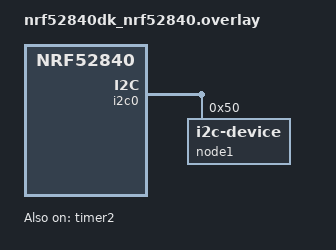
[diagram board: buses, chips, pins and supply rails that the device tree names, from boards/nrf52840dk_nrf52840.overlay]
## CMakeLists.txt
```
#
# Copyright (c) 2021 Nordic Semiconductor ASA
#
# SPDX-License-Identifier: LicenseRef-Nordic-5-Clause
#

cmake_minimum_required(VERSION 3.20.0)

find_package(Zephyr REQUIRED HINTS $ENV{ZEPHYR_BASE})

project(Nordic)

# NORDIC SDK APP START
target_sources(app PRIVATE
  src/main.c
)

target_include_directories(app PRIVATE include)
# NORDIC SDK APP END
```

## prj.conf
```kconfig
#
# Copyright (c) 2021 Nordic Semiconductor ASA
#
# SPDX-License-Identifier: LicenseRef-Nordic-5-Clause
#

# Enable the I2C driver
CONFIG_I2C=y
# Enable floating point format specifiers
CONFIG_CBPRINTF_FP_SUPPORT=y


#CONFIG_ZIGBEE_CHANNEL=11
CONFIG_ZIGBEE_CHANNEL_SELECTION_MODE_MULTI=y
CONFIG_NCS_SAMPLES_DEFAULTS=y

CONFIG_UART_INTERRUPT_DRIVEN=y
CONFIG_SERIAL=y
CONFIG_GPIO=y

# Make sure printk is not printing to the UART console
CONFIG_CONSOLE=y
CONFIG_UART_CONSOLE=y

CONFIG_HEAP_MEM_POOL_SIZE=2048
CONFIG_MAIN_THREAD_PRIORITY=7

CONFIG_ZIGBEE=y
CONFIG_ZIGBEE_APP_UTILS=y
CONFIG_ZIGBEE_ROLE_END_DEVICE=y

# Enable DK LED and Buttons library
CONFIG_DK_LIBRARY=y

# This example requires more workqueue stack
CONFIG_SYSTEM_WORKQUEUE_STACK_SIZE=2048

# Enable nRF ECB driver
CONFIG_CRYPTO=y
CONFIG_CRYPTO_NRF_ECB=y
CONFIG_CRYPTO_INIT_PRIORITY=80

# Networking
CONFIG_NET_IPV6=n
CONFIG_NET_IP_ADDR_CHECK=n
CONFIG_NET_UDP=n
```

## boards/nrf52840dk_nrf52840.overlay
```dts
/*
 * Copyright (c) 2023 Nordic Semiconductor ASA
 *
 * SPDX-License-Identifier: LicenseRef-Nordic-5-Clause
 */

&i2c0 {
    
    node1: node1@50{
        compatible = "i2c-device";
        status = "okay";
        reg = < 0x50 >;
    };
};


/ {
	chosen {
		ncs,zigbee-timer = &timer2;
	};
};

&timer2 {
	status = "okay";
};
```

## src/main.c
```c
/*
 * Copyright (c) 2021 Nordic Semiconductor ASA
 *
 * SPDX-License-Identifier: LicenseRef-Nordic-5-Clause
 */

/** @file
 *
 * @brief Zigbee application template.
 */

#include <zephyr/kernel.h>
#include <zephyr/device.h>
#include <zephyr/devicetree.h>
#include <dk_buttons_and_leds.h>
#include <zephyr/logging/log.h>
#include <zephyr/sys/printk.h>

#include <zephyr/drivers/i2c.h>
#include "nodes/nodes.h"

#include "garden_zb_attrs.h"
#include "garden_zb_endpoint_defs.h"
#include "garden_zb_soil_moisture_defs.h"
#include "garden_zb_analog_output_defs.h"

#include <addons/zcl/zb_zcl_temp_measurement_addons.h>

#include <zboss_api.h>
#include <zboss_api_addons.h>

#include <zigbee/zigbee_error_handler.h>
#include <zigbee/zigbee_app_utils.h>

#include <zb_nrf_platform.h>
#include <zb_nrf_platform.h>

#include <zcl/zb_zcl_power_config.h>

#include <ram_pwrdn.h>


#define I2C_NODE_1 DT_NODELABEL(node1)

static const struct i2c_dt_spec dev_i2c = I2C_DT_SPEC_GET(I2C_NODE_1);

/* Device endpoint, used to receive ZCL commands. */
#define APP_TEMPLATE_ENDPOINT               11

/* Air quality check period */
#define READ_DATA_PERIOD_MSEC (1000 * 30)
#define READ_DATA_START_PERIOD_MSEC (1000 * 5)

/* Version of the application software (1 byte). */
#define TEMPLATE_INIT_BASIC_APP_VERSION     01

/* Version of the implementation of the Zigbee stack (1 byte). */
#define TEMPLATE_INIT_BASIC_STACK_VERSION   10

/* Version of the hardware of the device (1 byte). */
#define TEMPLATE_INIT_BASIC_HW_VERSION      11

/* Manufacturer name (32 bytes). */
#define TEMPLATE_INIT_BASIC_MANUF_NAME      "Nordic"

/* Model number assigned by manufacturer (32-bytes long string). */
#define TEMPLATE_INIT_BASIC_MODEL_ID        "Garden_v0.2b"

/* First 8 bytes specify the date of manufacturer of the device
 * in ISO 8601 format (YYYYMMDD). The rest (8 bytes) are manufacturer specific.
 */
#define TEMPLATE_INIT_BASIC_DATE_CODE       "20200329"

/* Type of power sources available for the device.
 * For possible values see section 3.2.2.2.8 of ZCL specification.
 */
#define TEMPLATE_INIT_BASIC_POWER_SOURCE    ZB_ZCL_BASIC_POWER_SOURCE_DC_SOURCE



/* LED indicating that device successfully joined Zigbee network. */
#define ZIGBEE_NETWORK_STATE_LED            DK_LED3

/* LED used for device identification. */
#define IDENTIFY_LED                        DK_LED4

/* Button used to enter the Identify mode. */
#define IDENTIFY_MODE_BUTTON                DK_BTN4_MSK

/* Button to start Factory Reset */
#define FACTORY_RESET_BUTTON                IDENTIFY_MODE_BUTTON

LOG_MODULE_REGISTER(app, LOG_LEVEL_INF);

/* Main application customizable context.
 * Stores all settings and static values.
 */
/*
struct zb_device_ctx {
	zb_zcl_basic_attrs_t basic_attr;
	zb_zcl_identify_attrs_t identify_attr;
};
//*/

/* Zigbee device application context storage. */
static struct zb_device_ctx dev_ctx;

ZB_ZCL_DECLARE_IDENTIFY_ATTRIB_LIST(
	identify_attr_list,
	&dev_ctx.identify_attr.identify_time);

ZB_ZCL_DECLARE_BASIC_ATTRIB_LIST_EXT(
	basic_attr_list,
	&dev_ctx.basic_attr.zcl_version,
	&dev_ctx.basic_attr.app_version,
	&dev_ctx.basic_attr.stack_version,
	&dev_ctx.basic_attr.hw_version,
	dev_ctx.basic_attr.mf_name,
	dev_ctx.basic_attr.model_id,
	dev_ctx.basic_attr.date_code,
	&dev_ctx.basic_attr.power_source,
	dev_ctx.basic_attr.location_id,
	&dev_ctx.basic_attr.ph_env,
	dev_ctx.basic_attr.sw_ver);


//*
GARDEN_ZB_ZCL_DECLARE_SOIL_MOISTURE_ATTRIB_LIST(
    soil_moisture_attr_list,
    &dev_ctx.soil_moisture_attrs.percentage1,
	&dev_ctx.soil_moisture_attrs.percentage2);
//*/

//*
ZB_ZCL_DECLARE_ON_OFF_ATTRIB_LIST(
	on_off_attr_list,
	&dev_ctx.on_off_attr.on_off);
//*/

GARDEN_ZB_ZCL_DECLARE_ANALOG_OUTPUT_ATTRIB_LIST(
	analog_output_attr_list,
	&dev_ctx.analog_output_attr.value);


GARDEN_ZB_DECLARE_CLUSTER_LIST(
    app_template_clusters,
    basic_attr_list,
    identify_attr_list,
    on_off_attr_list,
	analog_output_attr_list,
    soil_moisture_attr_list);

GARDEN_ZB_DECLARE_ENDPOINT(
    app_template_ep,
    GARDEN_ZIGBEE_ENDPOINT_1,
    app_template_clusters);

ZBOSS_DECLARE_DEVICE_CTX_1_EP(
	app_template_ctx,
	app_template_ep);



/**
 * @brief Function for initializing all clusters attributes. 
 */
static void app_clusters_attr_init(void)
{
	dev_ctx.basic_attr.zcl_version = ZB_ZCL_VERSION;
	dev_ctx.basic_attr.power_source = ZB_ZCL_BASIC_POWER_SOURCE_BATTERY;
	ZB_ZCL_SET_STRING_VAL(
		dev_ctx.basic_attr.mf_name,
		GARDEN_BASIC_MANUF_NAME,
		ZB_ZCL_STRING_CONST_SIZE(GARDEN_BASIC_MANUF_NAME));

	ZB_ZCL_SET_STRING_VAL(
		dev_ctx.basic_attr.model_id,
		TEMPLATE_INIT_BASIC_MODEL_ID,
		ZB_ZCL_STRING_CONST_SIZE(TEMPLATE_INIT_BASIC_MODEL_ID));

	ZB_ZCL_SET_STRING_VAL(
		dev_ctx.basic_attr.date_code,
		TEMPLATE_INIT_BASIC_DATE_CODE,
		ZB_ZCL_STRING_CONST_SIZE(TEMPLATE_INIT_BASIC_DATE_CODE));

	dev_ctx.basic_attr.hw_version = TEMPLATE_INIT_BASIC_HW_VERSION;

	//dev_ctx->batt_attrs.quantity = 1;
	//dev_ctx->batt_attrs.size = ZB_ZCL_POWER_CONFIG_BATTERY_SIZE_OTHER;

	dev_ctx.identify_attr.identify_time =
		ZB_ZCL_IDENTIFY_IDENTIFY_TIME_DEFAULT_VALUE;
}

/**
 * @brief Function to toggle the identify LED
 *
 * @param  bufid  Unused parameter, required by ZBOSS scheduler API.
 */
static void toggle_identify_led(zb_bufid_t bufid)
{
	static int blink_status;

	dk_set_led(IDENTIFY_LED, (++blink_status) % 2);
	ZB_SCHEDULE_APP_ALARM(toggle_identify_led, bufid, ZB_MILLISECONDS_TO_BEACON_INTERVAL(100));
}

/**
 * @brief Function to handle identify notification events on the first endpoint.
 *
 * @param  bufid  Unused parameter, required by ZBOSS scheduler API.
 */
static void identify_cb(zb_bufid_t bufid)
{
	zb_ret_t zb_err_code;

	if (bufid) {
		/* Schedule a self-scheduling function that will toggle the LED */
		ZB_SCHEDULE_APP_CALLBACK(toggle_identify_led, bufid);
	} else {
		/* Cancel the toggling function alarm and turn off LED */
		zb_err_code = ZB_SCHEDULE_APP_ALARM_CANCEL(toggle_identify_led, ZB_ALARM_ANY_PARAM);
		ZVUNUSED(zb_err_code);

		dk_set_led(IDENTIFY_LED, 0);
	}
}

/**
 * @brief Starts identifying the device.
 *
 * @param  bufid  Unused parameter, required by ZBOSS scheduler API.
 */
static void start_identifying(zb_bufid_t bufid)
{
	ZVUNUSED(bufid);

	if (ZB_JOINED()) {
		/* Check if endpoint is in identifying mode,
		 * if not put desired endpoint in identifying mode.
		 */
		if (dev_ctx.identify_attr.identify_time ==
		ZB_ZCL_IDENTIFY_IDENTIFY_TIME_DEFAULT_VALUE) {

			zb_ret_t zb_err_code = zb_bdb_finding_binding_target(
				APP_TEMPLATE_ENDPOINT);

			if (zb_err_code == RET_OK) {
				LOG_INF("Enter identify mode");
			} else if (zb_err_code == RET_INVALID_STATE) {
				LOG_WRN("RET_INVALID_STATE - Cannot enter identify mode");
			} else {
				ZB_ERROR_CHECK(zb_err_code);
			}
		} else {
			LOG_INF("Cancel identify mode");
			zb_bdb_finding_binding_target_cancel();
		}
	} else {
		LOG_WRN("Device not in a network - cannot enter identify mode");
	}
}

/**
 * @brief Callback for button events.
 *
 * @param[in]   button_state  Bitmask containing buttons state.
 * @param[in]   has_changed   Bitmask containing buttons
 *                            that have changed their state.
 */
static void button_changed(uint32_t button_state, uint32_t has_changed)
{
	if (IDENTIFY_MODE_BUTTON & has_changed) {
		if (IDENTIFY_MODE_BUTTON & button_state) {
			/* Button changed its state to pressed */
		} else {
			/* Button changed its state to released */
			if (was_factory_reset_done()) {
				/* The long press was for Factory Reset */
				LOG_DBG("After Factory Reset - ignore button release");
			} else   {
				/* Button released before Factory Reset */

				/* Start identification mode */
				ZB_SCHEDULE_APP_CALLBACK(start_identifying, 0);
			}
		}
	}

	check_factory_reset_button(button_state, has_changed);
}

/**
 * @brief Function for initializing LEDs and Buttons. 
 */
static void configure_gpio(void)
{
	int err;

	err = dk_buttons_init(button_changed);
	if (err) {
		LOG_ERR("Cannot init buttons (err: %d)", err);
	}

	err = dk_leds_init();
	if (err) {
		LOG_ERR("Cannot init LEDs (err: %d)", err);
	}

	if (!device_is_ready(dev_i2c.bus)) {
		LOG_ERR("I2C bus %s is not ready!\n\r",dev_i2c.bus->name);
	}
}


void readData() {

	int ret;
	int err = 0;

	uint8_t data_reading[3]= {0};
	uint8_t sensor_regs[3] = {HUMIDITY1_REG, HUMIDITY2_REG, WATERLEVEL_REG};
	ret = i2c_write_read_dt(&dev_i2c,&sensor_regs[0],1,&data_reading[0],1);
	if(ret != 0){
		printk("Failed to write/read I2C device address %x at Reg. %x \r\n", dev_i2c.addr,sensor_regs[0]);
	}
	ret = i2c_write_read_dt(&dev_i2c,&sensor_regs[1],1,&data_reading[1],1);
	if(ret != 0){
		printk("Failed to write/read I2C device address %x at Reg. %x \r\n", dev_i2c.addr,sensor_regs[1]);
	}
	ret = i2c_write_read_dt(&dev_i2c,&sensor_regs[2],1,&data_reading[2],1);
	if(ret != 0){
		printk("Failed to write/read I2C device address %x at Reg. %x \r\n", dev_i2c.addr,sensor_regs[2]);
	}

	printk("HUM1 = %x, HUM2 = %x, WATER = %x \r\n", data_reading[0], data_reading[1], data_reading[2]);

	zb_zcl_status_t statusHum1 = zb_zcl_set_attr_val(
			GARDEN_ZIGBEE_ENDPOINT_1, GARDEN_ZB_ZCL_ATTR_SOIL_MOISTURE_CLUSTER_ID,
			ZB_ZCL_CLUSTER_SERVER_ROLE, GARDEN_ZB_ZCL_ATTR_SOIL_MOISTURE_VALUE_1_ID,
			(zb_uint8_t *)&data_reading[0], ZB_FALSE);
		if (statusHum1) {
			LOG_ERR("Failed to set ZCL attribute: %d", statusHum1);
			err = statusHum1;
		}

	zb_zcl_status_t statusHum2 = zb_zcl_set_attr_val(
			GARDEN_ZIGBEE_ENDPOINT_1, GARDEN_ZB_ZCL_ATTR_SOIL_MOISTURE_CLUSTER_ID,
			ZB_ZCL_CLUSTER_SERVER_ROLE, GARDEN_ZB_ZCL_ATTR_SOIL_MOISTURE_VALUE_2_ID,
			(zb_uint8_t *)&data_reading[1], ZB_FALSE);
		if (statusHum2) {
			LOG_ERR("Failed to set ZCL attribute: %d", statusHum2);
			err = statusHum2;
		}

	zb_zcl_status_t statusWater = zb_zcl_set_attr_val(
			GARDEN_ZIGBEE_ENDPOINT_1, GARDEN_ZB_ZCL_ATTR_ANALOG_OUTPUT_CLUSTER_ID,
			ZB_ZCL_CLUSTER_SERVER_ROLE, GARDEN_ZB_ZCL_ATTR_ANALOG_OUTPUT_VALUE_ID,
			(zb_uint8_t *)&data_reading[2], ZB_FALSE);
		if (statusWater) {
			LOG_ERR("Failed to set ZCL attribute: %d", statusWater);
			err = statusWater;
		}

	zb_ret_t zb_err = ZB_SCHEDULE_APP_ALARM(
		readData, 0,
		ZB_MILLISECONDS_TO_BEACON_INTERVAL(READ_DATA_PERIOD_MSEC));
	if (zb_err) {
		LOG_ERR("Failed to schedule app alarm: %d", zb_err);
	}
}


/**
 * @brief Function for turning ON/OFF the water valve.
 *
 * @param[in]   on   Boolean light bulb state.
 */
static void on_off_set_value(zb_bool_t on)
{
	LOG_INF("Set ON/OFF value: %i", on);

	ZB_ZCL_SET_ATTRIBUTE(
		GARDEN_ZIGBEE_ENDPOINT_1,
		ZB_ZCL_CLUSTER_ID_ON_OFF,
		ZB_ZCL_CLUSTER_SERVER_ROLE,
		ZB_ZCL_ATTR_ON_OFF_ON_OFF_ID,
		(zb_uint8_t *)&on,
		ZB_FALSE);
	
	int ret;

	uint8_t state[2] = {WATERVALVE_REG, on};
	ret = i2c_write_dt(&dev_i2c, state, sizeof(state));
	if(ret != 0){
		printk("Failed to write to I2C device address %x at Reg. %x \n", dev_i2c.addr,state[0]);
		//return -1;
	}
}


/**
 * @brief Callback function for handling ZCL commands.
 *
 * @param[in]   bufid   Reference to Zigbee stack buffer
 *                      used to pass received data.
 */
static void zcl_device_cb(zb_bufid_t bufid)
{
	zb_uint8_t cluster_id;
	zb_uint8_t attr_id;
	zb_zcl_device_callback_param_t  *device_cb_param =
		ZB_BUF_GET_PARAM(bufid, zb_zcl_device_callback_param_t);

	LOG_INF("%s id %hd", __func__, device_cb_param->device_cb_id);

	/* Set default response value. */
	device_cb_param->status = RET_OK;

	switch (device_cb_param->device_cb_id) {
	case ZB_ZCL_LEVEL_CONTROL_SET_VALUE_CB_ID:
		LOG_INF("Level control setting to %d",
			device_cb_param->cb_param.level_control_set_value_param
			.new_value);
		/*level_control_set_value(
			device_cb_param->cb_param.level_control_set_value_param
			.new_value);*/
		break;

	case ZB_ZCL_SET_ATTR_VALUE_CB_ID:
		cluster_id = device_cb_param->cb_param.
			     set_attr_value_param.cluster_id;
		attr_id = device_cb_param->cb_param.
			  set_attr_value_param.attr_id;

		if (cluster_id == ZB_ZCL_CLUSTER_ID_ON_OFF) {
			uint8_t value =
				device_cb_param->cb_param.set_attr_value_param
				.values.data8;

			LOG_INF("on/off attribute setting to %hd", value);
			if (attr_id == ZB_ZCL_ATTR_ON_OFF_ON_OFF_ID) {
				on_off_set_value((zb_bool_t)value);
			}
		} else {
			/* Other clusters can be processed here */
			LOG_INF("Unhandled cluster attribute id: %d",
				cluster_id);
			device_cb_param->status = RET_NOT_IMPLEMENTED;
		}
		break;

	default:
		LOG_ERR("Some error");
		break;
	}

	LOG_INF("%s status: %hd", __func__, device_cb_param->status);
}


/**
 * @brief Zigbee stack event handler.
 *
 * @param[in]   bufid   Reference to the Zigbee stack buffer
 *                      used to pass signal.
 */
void zboss_signal_handler(zb_bufid_t bufid)
{
	/* Update network status LED. */
	zigbee_led_status_update(bufid, ZIGBEE_NETWORK_STATE_LED);
	
	zb_zdo_app_signal_hdr_t *signal_header = NULL;
	zb_zdo_app_signal_type_t signal = zb_get_app_signal(bufid, &signal_header);
	zb_ret_t err = RET_OK;

	switch (signal) {
		case ZB_ZDO_SIGNAL_SKIP_STARTUP:
			/* ZBOSS framework has started - schedule first air quality check */
			err = ZB_SCHEDULE_APP_ALARM(
				readData, 0,
				ZB_MILLISECONDS_TO_BEACON_INTERVAL(READ_DATA_START_PERIOD_MSEC));
			if (err) {
				LOG_ERR("Failed to schedule app alarm: %d", err);
			}
			break;
		case ZB_BDB_SIGNAL_STEERING:
		case ZB_BDB_SIGNAL_DEVICE_REBOOT:
			dk_set_led_off(IDENTIFY_LED);
			break;
		default:
			break;
	}

	/* No application-specific behavior is required.
	 * Call default signal handler.
	 */
	ZB_ERROR_CHECK(zigbee_default_signal_handler(bufid));

	/* All callbacks should either reuse or free passed buffers.
	 * If bufid == 0, the buffer is invalid (not passed).
	 */
	if (bufid) {
		zb_buf_free(bufid);
	}
}




int main(void)
{
	LOG_INF("Starting Zigbee application template example");

	/* Initialize */
	configure_gpio();
	register_factory_reset_button(FACTORY_RESET_BUTTON);

	/* Register callback for handling ZCL commands. */
	ZB_ZCL_REGISTER_DEVICE_CB(zcl_device_cb);

	/* Register device context (endpoints). */
	ZB_AF_REGISTER_DEVICE_CTX(&app_template_ctx);

	app_clusters_attr_init();

	/* Register handlers to identify notifications */
	ZB_AF_SET_IDENTIFY_NOTIFICATION_HANDLER(APP_TEMPLATE_ENDPOINT, identify_cb);

	/* Start Zigbee default thread */
	zigbee_enable();

	LOG_INF("Zigbee application template started");

	return 0;
}
```

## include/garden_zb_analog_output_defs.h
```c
#ifndef _GARDEN_ZB_ANALOG_OUTPUT_DEFS_
#define _GARDEN_ZB_ANALOG_OUTPUT_DEFS_

#include <zboss_api.h>
#include <zcl/zb_zcl_common.h>

// Most defines in this file are updated from the ZB_ZCL_DECLARE_TEMP_MEASUREMENT_ATTRIB_LIST,
// adapting attributes and IDs to match the mSoilMoisture cluster spec.1
// Values from https://github.com/Koenkk/zigbee-herdsman/blob/master/src/zcl/definition/cluster.ts#L2570
// (msSoilMoisture).
// Cluster attributes definitions in https://www.st.com/resource/en/user_manual/um2977-stm32wb-series-zigbee-cluster-library-api-stmicroelectronics.pdf.

//#define GARDEN_ZB_ZCL_ATTR_ANALOG_OUTPUT_CLUSTER_ID 1032
#define GARDEN_ZB_ZCL_ATTR_ANALOG_OUTPUT_CLUSTER_ID ZB_ZCL_CLUSTER_ID_ANALOG_OUTPUT

// Soil moisture value represented as an uint16.
#define GARDEN_ZB_ZCL_ATTR_ANALOG_OUTPUT_VALUE_ID 0x0055

// Required callbacks. ZBOSS will call these.
void garden_zcl_analog_output_init_server(void);
void garden_zcl_analog_output_init_client(void);

#define GARDEN_ZB_ZCL_ATTR_ANALOG_OUTPUT_CLUSTER_ID_SERVER_ROLE_INIT garden_zcl_analog_output_init_server
#define GARDEN_ZB_ZCL_ATTR_ANALOG_OUTPUT_CLUSTER_ID_CLIENT_ROLE_INIT garden_zcl_analog_output_init_client


#define GARDEN_ZB_ZCL_ANALOG_OUTPUT_CLUSTER_REVISION_DEFAULT ((zb_uint16_t)0x0042)

// for the first sensor
#define ZB_SET_ATTR_DESCR_WITH_GARDEN_ZB_ZCL_ATTR_ANALOG_OUTPUT_VALUE_ID(data_ptr) \
  {                                                                              \
    GARDEN_ZB_ZCL_ATTR_ANALOG_OUTPUT_VALUE_ID,                                   \
        ZB_ZCL_ATTR_TYPE_U16,                                                    \
        ZB_ZCL_ATTR_ACCESS_READ_ONLY | ZB_ZCL_ATTR_ACCESS_REPORTING,             \
        (ZB_ZCL_NON_MANUFACTURER_SPECIFIC),                                      \
        (void*)data_ptr                                                          \
  }


#define GARDEN_ZB_ZCL_DECLARE_ANALOG_OUTPUT_ATTRIB_LIST(attr_list, value)                   \
  ZB_ZCL_START_DECLARE_ATTRIB_LIST_CLUSTER_REVISION(attr_list, GARDEN_ZB_ZCL_ANALOG_OUTPUT) \
  ZB_ZCL_SET_ATTR_DESC(GARDEN_ZB_ZCL_ATTR_ANALOG_OUTPUT_VALUE_ID, (value))                  \
  ZB_ZCL_FINISH_DECLARE_ATTRIB_LIST

//*
void garden_zcl_analog_output_init_server(void) {
  zb_zcl_add_cluster_handlers(GARDEN_ZB_ZCL_ATTR_ANALOG_OUTPUT_CLUSTER_ID,
                              ZB_ZCL_CLUSTER_SERVER_ROLE,
                              /*cluster_check_value=*/NULL,
                              /*cluster_write_attr_hook=*/NULL,
                              /*cluster_handler=*/NULL);
}
//*/
void garden_zcl_analog_output_init_client(void) {
  // Nothing.
}

#endif  // _GARDEN_ZB_ANALOG_OUTPUT_DEFS_
```

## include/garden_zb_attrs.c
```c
#include "garden_zb_attrs.h"

#include <zboss_api_addons.h>

#include "garden_zb_endpoint_defs.h"

void garden_zb_attrs_init(struct zb_device_ctx *dev_ctx) {
  dev_ctx->basic_attr.zcl_version = ZB_ZCL_VERSION;
  dev_ctx->basic_attr.power_source = ZB_ZCL_BASIC_POWER_SOURCE_BATTERY;
  ZB_ZCL_SET_STRING_VAL(
      dev_ctx->basic_attr.mf_name,
      GARDEN_BASIC_MANUF_NAME,
      ZB_ZCL_STRING_CONST_SIZE(GARDEN_BASIC_MANUF_NAME));

  ZB_ZCL_SET_STRING_VAL(
      dev_ctx->basic_attr.model_id,
      TEMPLATE_INIT_BASIC_MODEL_ID,
      ZB_ZCL_STRING_CONST_SIZE(TEMPLATE_INIT_BASIC_MODEL_ID));

  ZB_ZCL_SET_STRING_VAL(
      dev_ctx->basic_attr.date_code,
      TEMPLATE_INIT_BASIC_DATE_CODE,
      ZB_ZCL_STRING_CONST_SIZE(TEMPLATE_INIT_BASIC_DATE_CODE));

  dev_ctx->basic_attr.hw_version = TEMPLATE_INIT_BASIC_HW_VERSION;

  //dev_ctx->batt_attrs.quantity = 1;
  //dev_ctx->batt_attrs.size = ZB_ZCL_POWER_CONFIG_BATTERY_SIZE_OTHER;

  dev_ctx->identify_attr.identify_time =
      ZB_ZCL_IDENTIFY_IDENTIFY_TIME_DEFAULT_VALUE;
}

zb_zcl_status_t garden_zb_set_attr_value(zb_uint16_t cluster_id, zb_uint16_t attr_id, void *data) {
  return zb_zcl_set_attr_val(GARDEN_ZIGBEE_ENDPOINT_1,
                             cluster_id,
                             ZB_ZCL_CLUSTER_SERVER_ROLE,
                             attr_id,
                             (zb_uint8_t *)data,
                             ZB_FALSE);
}
```

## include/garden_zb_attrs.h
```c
#ifndef _GARDEN_ZB_ATTRS_H_
#define _GARDEN_ZB_ATTRS_H_

#include <zboss_api_addons.h>

// Relative humimdity cluster - section 4.7.2.2.1.
typedef struct {
  // 100x relative humidity (mandatory).
  zb_uint16_t rel_humidity;
  // 0x0000 – 0x270f (mandatory).
  zb_uint16_t min_val;
  // 0x0001 – 0x2710 (mandatory).
  zb_uint16_t max_val;
} garden_rel_humidity_attrs_t;

// Power configuration cluster - section 3.3.2.2.3.
typedef struct {
  // Units of 100 mV. 0x00 - 0xff (optional, not reportable :()).
  zb_uint8_t voltage;
  // Units of 0.5%. 0x00 (0%) - 0xc8 (100%) (optional, reportable).
  zb_uint8_t percentage;
  // Whole number of battery cells used to power device
  zb_uint8_t quantity;
  // Enumeration of battery size
  enum zb_zcl_power_config_battery_size_e size;
} garden_batt_attrs_t;

// Soil moisture cluster.
typedef struct {
  // 0-100, units of 0.01?
  zb_uint16_t percentage1;
  zb_uint16_t percentage2;
} garden_soil_moisture_attrs_t;


// Water level cluster.
typedef struct {
  zb_uint16_t value;
} garden_analog_output_attrs_t;

// Water pump cluster.
typedef struct {
  // 0-100, units of 0.01?
  zb_uint16_t state;
  //zb_uint16_t percentage2;
} garden_on_off_attrs_t;


struct zb_device_ctx {
  zb_zcl_basic_attrs_ext_t basic_attr;
  zb_zcl_identify_attrs_t identify_attr;
  //zb_zcl_temp_measurement_attrs_t temp_measure_attrs;
  //garden_rel_humidity_attrs_t rel_humidity_attrs;
  //garden_batt_attrs_t batt_attrs;
  zb_zcl_on_off_attrs_t on_off_attr;
  garden_analog_output_attrs_t analog_output_attr;
  garden_soil_moisture_attrs_t soil_moisture_attrs;
  //garden_illuminancce_attrs_t illuminance_attrs;
};

void garden_zb_attrs_init(struct zb_device_ctx *dev_ctx);

zb_zcl_status_t garden_zb_set_attr_value(zb_uint16_t cluster_id, zb_uint16_t attr_id, void *data);

#endif  // _GARDEN_ZB_ATTRS_H_
```

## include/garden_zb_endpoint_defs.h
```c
#ifndef _GARDEN_ZB_H_
#define _GARDEN_ZB_H_

#include "garden_zb_soil_moisture_defs.h"
#include "garden_zb_analog_output_defs.h"

#define GARDEN_ZIGBEE_ENDPOINT_1 11
#define GARDEN_BASIC_MANUF_NAME "Honza"

#define GARDEN_ZB_DEVICE_ID 0x0008
#define GARDEN_ZB_DEVICE_VERSION 0
#define GARDEN_ZB_IN_CLUSTER_NUM 5
#define GARDEN_ZB_OUT_CLUSTER_NUM 0
#define GARDEN_ZB_CLUSTER_NUM (GARDEN_ZB_IN_CLUSTER_NUM + GARDEN_ZB_OUT_CLUSTER_NUM)
#define GARDEN_ZB_ATTR_REPORTING_COUNT 3

#define GARDEN_ZB_DECLARE_CLUSTER_LIST(                             \
    cluster_list_name,                                              \
    basic_attr_list,                                                \
    identify_attr_list,                                             \
    on_off_attr_list,                                               \
    analog_output_attr_list,                                          \
    soil_moisture_attr_list)                                        \
  zb_zcl_cluster_desc_t cluster_list_name[] =                               \
      {                                                                     \
          ZB_ZCL_CLUSTER_DESC(                                              \
              ZB_ZCL_CLUSTER_ID_IDENTIFY,                                   \
              ZB_ZCL_ARRAY_SIZE(identify_attr_list, zb_zcl_attr_t),         \
              (identify_attr_list),                                         \
              ZB_ZCL_CLUSTER_SERVER_ROLE,                                   \
              ZB_ZCL_MANUF_CODE_INVALID),                                   \
          ZB_ZCL_CLUSTER_DESC(                                              \
              ZB_ZCL_CLUSTER_ID_BASIC,                                      \
              ZB_ZCL_ARRAY_SIZE(basic_attr_list, zb_zcl_attr_t),            \
              (basic_attr_list),                                            \
              ZB_ZCL_CLUSTER_SERVER_ROLE,                                   \
              ZB_ZCL_MANUF_CODE_INVALID),                                   \
          ZB_ZCL_CLUSTER_DESC(                                              \
              ZB_ZCL_CLUSTER_ID_ON_OFF,                                     \
              ZB_ZCL_ARRAY_SIZE(on_off_attr_list, zb_zcl_attr_t),           \
              (on_off_attr_list),                                           \
              ZB_ZCL_CLUSTER_SERVER_ROLE,                                   \
              ZB_ZCL_MANUF_CODE_INVALID),                                   \
          ZB_ZCL_CLUSTER_DESC(                                              \
              GARDEN_ZB_ZCL_ATTR_ANALOG_OUTPUT_CLUSTER_ID,                  \
              ZB_ZCL_ARRAY_SIZE(analog_output_attr_list, zb_zcl_attr_t),           \
              (analog_output_attr_list),                                           \
              ZB_ZCL_CLUSTER_SERVER_ROLE,                                   \
              ZB_ZCL_MANUF_CODE_INVALID),                                   \
          ZB_ZCL_CLUSTER_DESC(                                              \
              GARDEN_ZB_ZCL_ATTR_SOIL_MOISTURE_CLUSTER_ID,                  \
              ZB_ZCL_ARRAY_SIZE(soil_moisture_attr_list, zb_zcl_attr_t),    \
              (soil_moisture_attr_list),                                    \
              ZB_ZCL_CLUSTER_SERVER_ROLE,                                   \
              ZB_ZCL_MANUF_CODE_INVALID)                                    \
        }

        /* ZB_ZCL_CLUSTER_DESC(                                              \
             ZB_ZCL_CLUSTER_ID_ON_OFF,                    \
             ZB_ZCL_ARRAY_SIZE(on_off_attr_list, zb_zcl_attr_t),    \
             (on_off_attr_list),                                    \
             ZB_ZCL_CLUSTER_SERVER_ROLE,                                   \
             ZB_ZCL_MANUF_CODE_INVALID),*/

#define GARDEN_ZB_DECLARE_SIMPLE_DESC(ep_name, ep_id, in_clust_num, out_clust_num) \
    ZB_DECLARE_SIMPLE_DESC(in_clust_num, out_clust_num);                           \
    ZB_AF_SIMPLE_DESC_TYPE(in_clust_num, out_clust_num)                            \
    simple_desc_##ep_name =                                                        \
    {                                                                          \
        ep_id,                                                                 \
        ZB_AF_HA_PROFILE_ID,                                                   \
        GARDEN_ZB_DEVICE_ID,                                                   \
        GARDEN_ZB_DEVICE_VERSION,                                              \
        0,                                                                     \
        in_clust_num,                                                          \
        out_clust_num,                                                         \
        {                                                                         \
            ZB_ZCL_CLUSTER_ID_BASIC,                                              \
            ZB_ZCL_CLUSTER_ID_IDENTIFY,                                           \
            ZB_ZCL_CLUSTER_ID_ON_OFF,                                             \
            ZB_ZCL_CLUSTER_ID_ANALOG_OUTPUT,                                      \
            GARDEN_ZB_ZCL_ATTR_SOIL_MOISTURE_CLUSTER_ID,                          \
        }                                                                         \
    }

        /*ZB_ZCL_CLUSTER_ID_ON_OFF,*/
#define GARDEN_ZB_DECLARE_ENDPOINT(ep_name, ep_id, cluster_list)                                      \
            ZBOSS_DEVICE_DECLARE_REPORTING_CTX(reporting_ctx_##ep_name, GARDEN_ZB_ATTR_REPORTING_COUNT);      \
            GARDEN_ZB_DECLARE_SIMPLE_DESC(ep_name, ep_id,                                                     \
                                          GARDEN_ZB_IN_CLUSTER_NUM, GARDEN_ZB_OUT_CLUSTER_NUM);               \
            ZB_AF_DECLARE_ENDPOINT_DESC(ep_name, ep_id, ZB_AF_HA_PROFILE_ID,                                  \
                                        /*reserved_length=*/0, /*reserved_ptr=*/NULL,                         \
                                        ZB_ZCL_ARRAY_SIZE(cluster_list, zb_zcl_cluster_desc_t), cluster_list, \
                                        (zb_af_simple_desc_1_1_t *)&simple_desc_##ep_name,                    \
                                        GARDEN_ZB_ATTR_REPORTING_COUNT, reporting_ctx_##ep_name,              \
                                        /*lev_ctrl_count=*/0, /*lev_ctrl_ctx=*/NULL)

#endif // _GARDEN_ZB_H_
```

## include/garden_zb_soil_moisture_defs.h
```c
#ifndef _GARDEN_ZB_SOIL_MOISTURE_DEFS_
#define _GARDEN_ZB_SOIL_MOISTURE_DEFS_

#include <zboss_api.h>
#include <zcl/zb_zcl_common.h>

// Most defines in this file are updated from the ZB_ZCL_DECLARE_TEMP_MEASUREMENT_ATTRIB_LIST,
// adapting attributes and IDs to match the mSoilMoisture cluster spec.
// Values from https://github.com/Koenkk/zigbee-herdsman/blob/master/src/zcl/definition/cluster.ts#L2570
// (msSoilMoisture).
// Cluster attributes definitions in https://www.st.com/resource/en/user_manual/um2977-stm32wb-series-zigbee-cluster-library-api-stmicroelectronics.pdf.

//#define GARDEN_ZB_ZCL_ATTR_SOIL_MOISTURE_CLUSTER_ID 1032
#define GARDEN_ZB_ZCL_ATTR_SOIL_MOISTURE_CLUSTER_ID 1459

// Soil moisture value represented as an uint16.
#define GARDEN_ZB_ZCL_ATTR_SOIL_MOISTURE_VALUE_1_ID 0x00
#define GARDEN_ZB_ZCL_ATTR_SOIL_MOISTURE_VALUE_2_ID 0x01

// Required callbacks. ZBOSS will call these.
void garden_zcl_soil_moisture_init_server(void);
void garden_zcl_soil_moisture_init_client(void);

#define GARDEN_ZB_ZCL_ATTR_SOIL_MOISTURE_CLUSTER_ID_SERVER_ROLE_INIT garden_zcl_soil_moisture_init_server
#define GARDEN_ZB_ZCL_ATTR_SOIL_MOISTURE_CLUSTER_ID_CLIENT_ROLE_INIT garden_zcl_soil_moisture_init_client


#define GARDEN_ZB_ZCL_SOIL_MOISTURE_CLUSTER_REVISION_DEFAULT ((zb_uint16_t)0x0042)

// for the first sensor
#define ZB_SET_ATTR_DESCR_WITH_GARDEN_ZB_ZCL_ATTR_SOIL_MOISTURE_VALUE_1_ID(data_ptr) \
  {                                                                              \
    GARDEN_ZB_ZCL_ATTR_SOIL_MOISTURE_VALUE_1_ID,                                     \
        ZB_ZCL_ATTR_TYPE_U16,                                                    \
        ZB_ZCL_ATTR_ACCESS_READ_ONLY | ZB_ZCL_ATTR_ACCESS_REPORTING,             \
        (ZB_ZCL_NON_MANUFACTURER_SPECIFIC),                                      \
        (void*)data_ptr                                                          \
  }

// for the second sensor
#define ZB_SET_ATTR_DESCR_WITH_GARDEN_ZB_ZCL_ATTR_SOIL_MOISTURE_VALUE_2_ID(data_ptr) \
  {                                                                              \
    GARDEN_ZB_ZCL_ATTR_SOIL_MOISTURE_VALUE_2_ID,                                     \
        ZB_ZCL_ATTR_TYPE_U16,                                                    \
        ZB_ZCL_ATTR_ACCESS_READ_ONLY | ZB_ZCL_ATTR_ACCESS_REPORTING,             \
        (ZB_ZCL_NON_MANUFACTURER_SPECIFIC),                                      \
        (void*)data_ptr                                                          \
  }

#define GARDEN_ZB_ZCL_DECLARE_SOIL_MOISTURE_ATTRIB_LIST(attr_list, value1, value2)                   \
  ZB_ZCL_START_DECLARE_ATTRIB_LIST_CLUSTER_REVISION(attr_list, GARDEN_ZB_ZCL_SOIL_MOISTURE) \
  ZB_ZCL_SET_ATTR_DESC(GARDEN_ZB_ZCL_ATTR_SOIL_MOISTURE_VALUE_1_ID, (value1))                  \
  ZB_ZCL_SET_ATTR_DESC(GARDEN_ZB_ZCL_ATTR_SOIL_MOISTURE_VALUE_2_ID, (value2))                  \
  ZB_ZCL_FINISH_DECLARE_ATTRIB_LIST

//*
void garden_zcl_soil_moisture_init_server(void) {
  zb_zcl_add_cluster_handlers(GARDEN_ZB_ZCL_ATTR_SOIL_MOISTURE_CLUSTER_ID,
                              ZB_ZCL_CLUSTER_SERVER_ROLE,
                              /*cluster_check_value=*/NULL,
                              /*cluster_write_attr_hook=*/NULL,
                              /*cluster_handler=*/NULL);
}
//*/
void garden_zcl_soil_moisture_init_client(void) {
  // Nothing.
}

#endif  // _GARDEN_ZB_SOIL_MOISTURE_DEFS_
```
